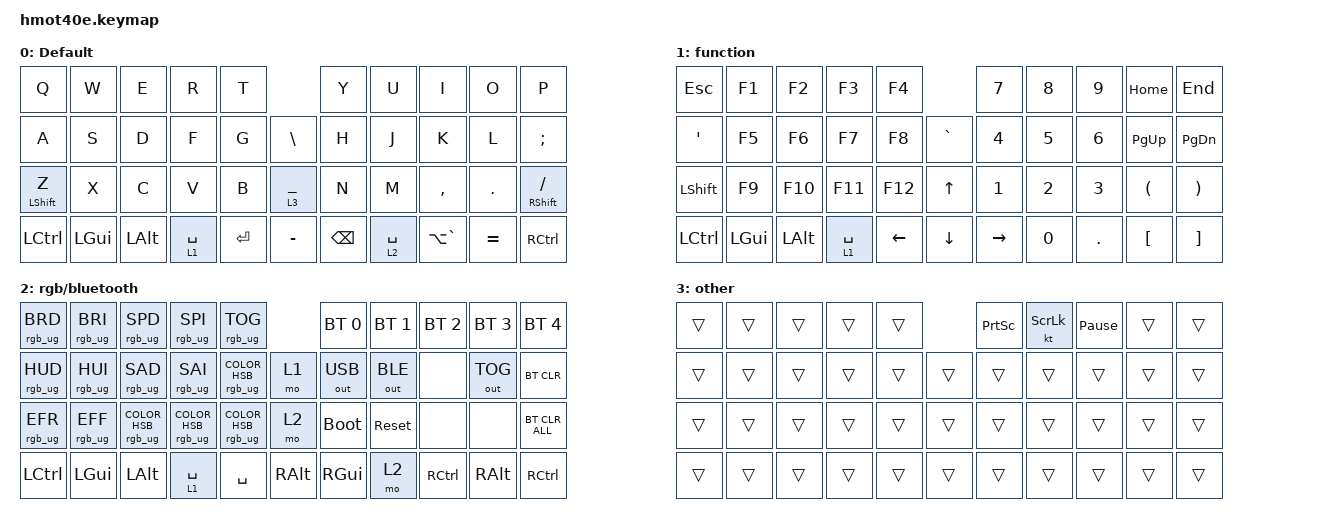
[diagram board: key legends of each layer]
/*
 * Copyright (c) 2020 The ZMK Contributors
 *
 * SPDX-License-Identifier: MIT
 */

#include <physical_layouts.dtsi>
#include <behaviors/mouse_keys.dtsi>
#include <behaviors.dtsi>
#include <dt-bindings/zmk/bt.h>
#include <dt-bindings/zmk/keys.h>
#include <dt-bindings/zmk/outputs.h>
#include <dt-bindings/zmk/rgb.h>

/ {
    behaviors {
        ht: hold_tap {
            compatible = "zmk,behavior-hold-tap";
            #binding-cells = <2>;
            tapping-term-ms = <200>;
            flavor = "tap-preferred";
            bindings = <&kp>, <&kp>;
        };
    };

    chosen { zmk,physical-layout = &layout0; };

    layout0: layout0 {
        compatible = "zmk,physical-layout";
        display-name = "default";
        transform = <&default_transform>;
        kscan = <&kscan0>;
        keys =
            //                    w   h    x    y     rot    rx    ry,,,,,,,,,,,,,,,,,,,
            <&key_physical_attrs 100 100    0    0       0     0     0>,
            <&key_physical_attrs 100 100  100    0       0   100     0>,
            <&key_physical_attrs 100 100  200    0       0   200     0>,
            <&key_physical_attrs 100 100  300    0       0   300     0>,
            <&key_physical_attrs 100 100  400    0       0   400     0>,
            <&key_physical_attrs 100 100  600    0       0   600     0>,
            <&key_physical_attrs 100 100  700    0       0   700     0>,
            <&key_physical_attrs 100 100  800    0       0   800     0>,
            <&key_physical_attrs 100 100  900    0       0   900     0>,
            <&key_physical_attrs 100 100 1000    0       0  1000     0>,
            <&key_physical_attrs 100 100    0  100       0     0   100>,
            <&key_physical_attrs 100 100  100  100       0   100   100>,
            <&key_physical_attrs 100 100  200  100       0   200   100>,
            <&key_physical_attrs 100 100  300  100       0   300   100>,
            <&key_physical_attrs 100 100  400  100       0   400   100>,
            <&key_physical_attrs 100 100  500  100       0   500   100>,
            <&key_physical_attrs 100 100  600  100       0   600   100>,
            <&key_physical_attrs 100 100  700  100       0   700   100>,
            <&key_physical_attrs 100 100  800  100       0   800   100>,
            <&key_physical_attrs 100 100  900  100       0   900   100>,
            <&key_physical_attrs 100 100 1000  100       0  1000   100>,
            <&key_physical_attrs 100 100    0  200       0     0   200>,
            <&key_physical_attrs 100 100  100  200       0   100   200>,
            <&key_physical_attrs 100 100  200  200       0   200   200>,
            <&key_physical_attrs 100 100  300  200       0   300   200>,
            <&key_physical_attrs 100 100  400  200       0   400   200>,
            <&key_physical_attrs 100 100  500  200       0   500   200>,
            <&key_physical_attrs 100 100  600  200       0   600   200>,
            <&key_physical_attrs 100 100  700  200       0   700   200>,
            <&key_physical_attrs 100 100  800  200       0   800   200>,
            <&key_physical_attrs 100 100  900  200       0   900   200>,
            <&key_physical_attrs 100 100 1000  200       0  1000   200>,
            <&key_physical_attrs 100 100    0  300       0     0   300>,
            <&key_physical_attrs 100 100  100  300       0   100   300>,
            <&key_physical_attrs 100 100  200  300       0   200   300>,
            <&key_physical_attrs 100 100  300  300       0   300   300>,
            <&key_physical_attrs 100 100  400  300       0   400   300>,
            <&key_physical_attrs 100 100  500  300       0   500   300>,
            <&key_physical_attrs 100 100  600  300       0   600   300>,
            <&key_physical_attrs 100 100  700  300       0   700   300>,
            <&key_physical_attrs 100 100  800  300       0   800   300>,
            <&key_physical_attrs 100 100  900  300       0   900   300>,
            <&key_physical_attrs 100 100 1000  300       0  1000   300>;
    };

    position_map {
        compatible = "zmk,physical-layout-position-map";
        complete;

        layout0 {
            physical-layout = <&layout0>;
            positions =
                < 0  1  2  3  4     5  6  7  8  9>,
                <10 11 12 13 14 15 16 17 18 19 20>,
                <21 22 23 24 25 26 27 28 29 30 31>,
                <32 33 34 35 36 36 37 38 39 40 41>;
        };
    };

    keymap {
        compatible = "zmk,keymap";

        default_layer {
            display-name = "Default";
            bindings = <
&kp Q             &kp W     &kp E     &kp R        &kp T                     &kp Y          &kp U        &kp I          &kp O      &kp P
&kp A             &kp S     &kp D     &kp F        &kp G      &kp BACKSLASH  &kp H          &kp J        &kp K          &kp L      &kp SEMICOLON
&mt LEFT_SHIFT Z  &kp X     &kp C     &kp V        &kp B      &lt 3 UNDER    &kp N          &kp M        &kp COMMA      &kp DOT    &mt RIGHT_SHIFT SLASH
&kp LCTRL         &kp LGUI  &kp LALT  &lt 1 SPACE  &kp ENTER  &kp MINUS      &kp BACKSPACE  &lt 2 SPACE  &kp LA(GRAVE)  &kp EQUAL  &kp RCTRL
            >;
        };

        function_layer {
            display-name = "function";
            bindings = <
&kp ESCAPE      &kp F1    &kp F2    &kp F3       &kp F4                          &kp N7           &kp N8        &kp N9        &kp HOME              &kp END
&kp SQT         &kp F5    &kp F6    &kp F7       &kp F8          &kp GRAVE       &kp NUMBER_4     &kp N5        &kp NUMBER_6  &kp PAGE_UP           &kp PAGE_DOWN
&kp LEFT_SHIFT  &kp F9    &kp F10   &kp F11      &kp F12         &kp UP_ARROW    &kp NUMBER_1     &kp NUMBER_2  &kp NUMBER_3  &kp LEFT_PARENTHESIS  &kp RIGHT_PARENTHESIS
&kp LCTRL       &kp LGUI  &kp LALT  &lt 1 SPACE  &kp LEFT_ARROW  &kp DOWN_ARROW  &kp RIGHT_ARROW  &kp N0        &kp PERIOD    &kp LEFT_BRACKET      &kp RIGHT_BRACKET
            >;
        };

        rgb_bluetooth_layer {
            display-name = "rgb/bluetooth";
            bindings = <
&rgb_ug RGB_BRD  &rgb_ug RGB_BRI  &rgb_ug RGB_SPD                    &rgb_ug RGB_SPI                    &rgb_ug RGB_TOG                              &bt BT_SEL 0  &bt BT_SEL 1  &bt BT_SEL 2  &bt BT_SEL 3  &bt BT_SEL 4
&rgb_ug RGB_HUD  &rgb_ug RGB_HUI  &rgb_ug RGB_SAD                    &rgb_ug RGB_SAI                    &rgb_ug RGB_COLOR_HSB(0,0,100)     &mo 1     &out OUT_USB  &out OUT_BLE  &none         &out OUT_TOG  &bt BT_CLR
&rgb_ug RGB_EFR  &rgb_ug RGB_EFF  &rgb_ug RGB_COLOR_HSB(250,100,50)  &rgb_ug RGB_COLOR_HSB(347,100,50)  &rgb_ug RGB_COLOR_HSB(119,100,50)  &mo 2     &bootloader   &sys_reset    &none         &none         &bt BT_CLR_ALL
&kp LCTRL        &kp LGUI         &kp LALT                           &lt 1 SPACE                        &kp SPACE                          &kp RALT  &kp RGUI      &mo 2         &kp RCTRL     &kp RALT      &kp RCTRL
            >;
        };

        other_layer {
            display-name = "other";
            bindings = <
&trans  &trans  &trans  &trans  &trans          &kp PRINTSCREEN  &kt SCROLLLOCK  &kp PAUSE_BREAK  &trans  &trans
&trans  &trans  &trans  &trans  &trans  &trans  &trans           &trans          &trans           &trans  &trans
&trans  &trans  &trans  &trans  &trans  &trans  &trans           &trans          &trans           &trans  &trans
&trans  &trans  &trans  &trans  &trans  &trans  &trans           &trans          &trans           &trans  &trans
            >;
        };
    };
};
